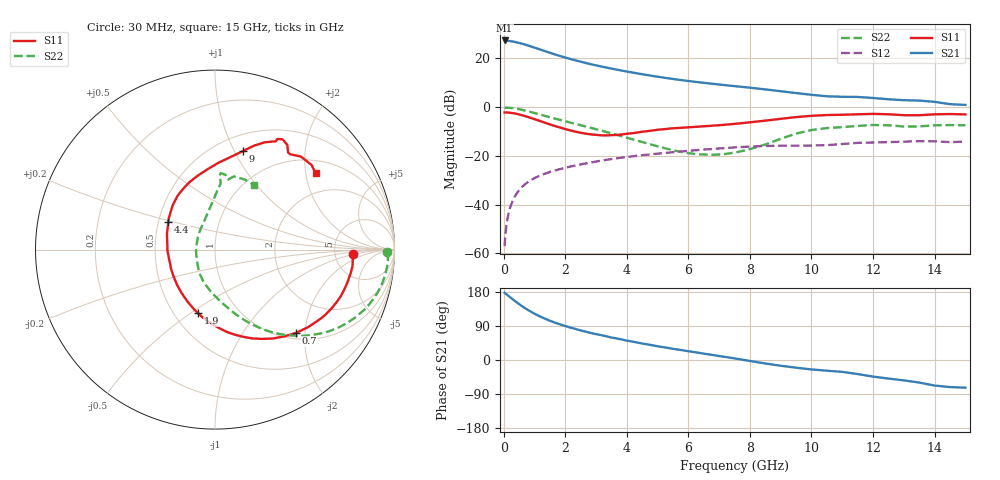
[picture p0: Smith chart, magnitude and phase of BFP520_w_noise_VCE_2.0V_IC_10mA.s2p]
! Infineon Technologies  Discrete & RF Semiconductors
! BFP520
! VCE =  2.0 V,  IC =  10 mA
! Common Emitter S-Parameters:  Oct 2015
# GHz  S  MA  R  50
!  f  S11  S21  S12  S22
! GHz  MAG  ANG  MAG  ANG  MAG  ANG  MAG  ANG
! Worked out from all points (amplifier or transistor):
!   109 points, 30 MHz to 15 GHz, reference 50 ohm
!   highest |S21| = 27.3 dB at 30 MHz (marker M1)
!   |S21| within 3 dB of that: start of sweep to 1.018 GHz
!   unconditionally stable (mu >= 1): 3.482 GHz to end of sweep
!   at 450 MHz: K = 0.23, MSG = 30.7 dB, |S12| = -35.0 dB
!   at 4 GHz: K = 1.06, MAG = 16.1 dB, |S12| = -20.5 dB
!   at 15 GHz: K = 1.30, MAG = 4.3 dB, |S12| = -14.2 dB
!   lowest NFmin = 1.53 dB at 900 MHz
!   S11 on the Smith chart (normalised r, x): 30 MHz: 7.60, -1.01; 700 MHz: 1.12, -1.80; 1.9 GHz: 0.65, -0.54; 4.4 GHz: 0.56, +0.19; 9 GHz: 0.66, +1.08; 15 GHz: 1.36, +2.28
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0.03  0.7711 -2.0  23.06 177.3  0.0014 76.0  0.9595 -0.9
0.07  0.7696 -4.8  22.93 174.3  0.003 84.3  0.9643 -2.7
0.2  0.7603 -13.8  22.4 166.2  0.0083 81.8  0.9577 -8.8
0.4  0.7261 -27.2  21.26 153.5  0.016 76.5  0.9229 -17.5
0.6  0.6755 -39.7  19.78 141.9  0.023 71.5  0.8709 -25.5
0.7  0.6476 -45.8  18.95 136.5  0.0262 69.3  0.8417 -29.1
0.8  0.6188 -51.4  18.09 131.4  0.0292 67.1  0.8116 -32.5
1  0.5619 -62.3  16.47 122.3  0.0347 63.6  0.7509 -38.5
1.3  0.485 -77.3  14.22 110.5  0.042 59.2  0.6662 -46.2
1.6  0.4186 -91.4  12.31 100.5  0.0485 55.9  0.5912 -52.6
1.9  0.3672 -104.8  10.76 92.2  0.0546 53.2  0.5278 -58.1
2.2  0.3258 -118.6  9.493 84.7  0.0606 50.8  0.4722 -63.0
2.6  0.2886 -137.1  8.156 76.0  0.0683 47.7  0.407 -69.2
3.5  0.2648 -178.3  6.108 59.3  0.0855 40.5  0.2871 -84.6
4.4  0.3031 149.0  4.802 45.1  0.1009 32.8  0.1987 -106.4
5.1  0.3449 132.1  4.078 35.0  0.1118 27.2  0.1504 -126.5
6.2  0.3896 114.8  3.285 20.7  0.129 18.3  0.109 -162.4
7.6  0.456 93.7  2.633 2.9  0.1491 6.0  0.1193 141.7
9  0.5703 74.2  2.1 -15.2  0.1604 -7.7  0.2225 98.7
10.5  0.6827 61.9  1.654 -28.2  0.1649 -16.5  0.3683 85.1
13  0.6771 53.1  1.375 -53.7  0.1942 -36.9  0.3972 79.2
15  0.7033 37.1  1.102 -73.1  0.1945 -52.9  0.4209 58.6
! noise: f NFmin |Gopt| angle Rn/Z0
0.45  1.55  0.27  1  0.29
0.9  1.53  0.25  5  0.31
1.9  1.71  0.23  12  0.27
2.4  1.73  0.19  24  0.27
3.5  1.66  0.17  46  0.26
